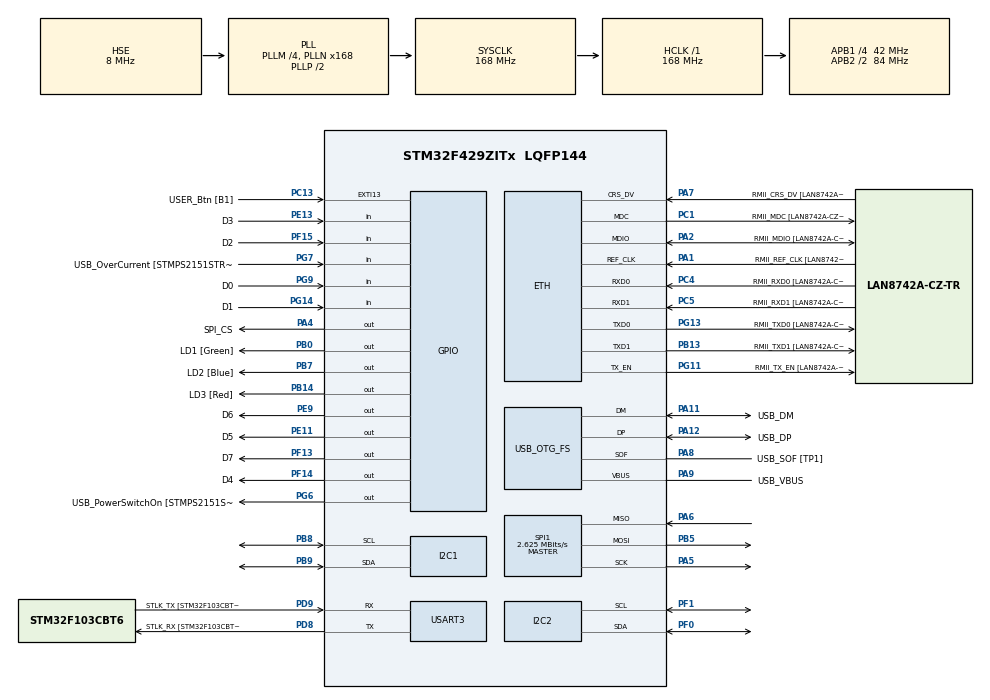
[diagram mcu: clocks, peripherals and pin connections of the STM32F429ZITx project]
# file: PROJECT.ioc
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ETH.MediaInterface=HAL_ETH_RMII_MODE
ETH.PHY_Name=LAN8742A_PHY_ADDRESS
ETH.PHY_Value=0
ETH.PhyAddress=0
I2C1.I2C_Mode=I2C_Fast
Mcu.Family=STM32F4
Mcu.Name=STM32F429ZITx
Mcu.Package=LQFP144
NVIC.PriorityGroup=NVIC_PRIORITYGROUP_4
PA1.GPIO_Label=RMII_REF_CLK [LAN8742A-CZ-TR_REFCLK0]
PA1.Mode=RMII
PA1.Signal=ETH_REF_CLK
PA10.GPIO_Label=USB_ID
PA10.Signal=USB_OTG_FS_ID
PA11.GPIO_Label=USB_DM
PA11.Mode=Device_Only
PA11.Signal=USB_OTG_FS_DM
PA12.GPIO_Label=USB_DP
PA12.Mode=Device_Only
PA12.Signal=USB_OTG_FS_DP
PA13.GPIO_Label=TMS
PA13.Mode=Serial_Wire
PA13.Signal=SYS_JTMS-SWDIO
PA14.GPIO_Label=TCK
PA14.Mode=Serial_Wire
PA14.Signal=SYS_JTCK-SWCLK
PA2.GPIO_Label=RMII_MDIO [LAN8742A-CZ-TR_MDIO]
PA2.Mode=RMII
PA2.Signal=ETH_MDIO
PA4.GPIO_Label=SPI_CS
PA4.Signal=GPIO_Output
PA5.Mode=Full_Duplex_Master
PA5.Signal=SPI1_SCK
PA6.Mode=Full_Duplex_Master
PA6.Signal=SPI1_MISO
PA7.GPIO_Label=RMII_CRS_DV [LAN8742A-CZ-TR_CRS_DV]
PA7.Mode=RMII
PA7.Signal=ETH_CRS_DV
PA8.GPIO_Label=USB_SOF [TP1]
PA8.Mode=Activate_SOF_FS
PA8.Signal=USB_OTG_FS_SOF
PA9.GPIO_Label=USB_VBUS
PA9.Mode=Activate_VBUS
PA9.Signal=USB_OTG_FS_VBUS
PB0.GPIO_Label=LD1 [Green]
PB0.Signal=GPIO_Output
PB13.GPIO_Label=RMII_TXD1 [LAN8742A-CZ-TR_TXD1]
PB13.Mode=RMII
PB13.Signal=ETH_TXD1
PB14.GPIO_Label=LD3 [Red]
PB14.Signal=GPIO_Output
PB5.Mode=Full_Duplex_Master
PB5.Signal=SPI1_MOSI
PB7.GPIO_Label=LD2 [Blue]
PB7.Signal=GPIO_Output
PB8.Mode=I2C
PB8.Signal=I2C1_SCL
PB9.Mode=I2C
PB9.Signal=I2C1_SDA
PC1.GPIO_Label=RMII_MDC [LAN8742A-CZ-TR_MDC]
PC1.Mode=RMII
PC1.Signal=ETH_MDC
PC13.GPIO_Label=USER_Btn [B1]
PC13.Signal=GPXTI13
PC14/OSC32_IN.Mode=LSE-External-Oscillator
PC14/OSC32_IN.Signal=RCC_OSC32_IN
PC15/OSC32_OUT.Mode=LSE-External-Oscillator
PC15/OSC32_OUT.Signal=RCC_OSC32_OUT
PC4.GPIO_Label=RMII_RXD0 [LAN8742A-CZ-TR_RXD0]
PC4.Mode=RMII
PC4.Signal=ETH_RXD0
PC5.GPIO_Label=RMII_RXD1 [LAN8742A-CZ-TR_RXD1]
PC5.Mode=RMII
PC5.Signal=ETH_RXD1
PD8.GPIO_Label=STLK_RX [STM32F103CBT6_PA3]
PD8.Mode=Asynchronous
PD8.Signal=USART3_TX
PD9.GPIO_Label=STLK_TX [STM32F103CBT6_PA2]
PD9.Mode=Asynchronous
PD9.Signal=USART3_RX
PE11.GPIO_Label=D5
PE11.Signal=GPIO_Output
PE13.GPIO_Label=D3
PE13.GPIO_PuPd=GPIO_PULLUP
PE13.Signal=GPIO_Input
PE9.GPIO_Label=D6
PE9.Signal=GPIO_Output
PF0.Mode=I2C
PF0.Signal=I2C2_SDA
PF1.Mode=I2C
PF1.Signal=I2C2_SCL
PF13.GPIO_Label=D7
PF13.Signal=GPIO_Output
PF14.GPIO_Label=D4
PF14.Signal=GPIO_Output
PF15.GPIO_Label=D2
PF15.GPIO_PuPd=GPIO_PULLUP
PF15.Signal=GPIO_Input
PG11.GPIO_Label=RMII_TX_EN [LAN8742A-CZ-TR_TXEN]
PG11.Mode=RMII
PG11.Signal=ETH_TX_EN
PG13.GPIO_Label=RMII_TXD0 [LAN8742A-CZ-TR_TXD0]
PG13.Mode=RMII
PG13.Signal=ETH_TXD0
PG14.GPIO_Label=D1
PG14.GPIO_PuPd=GPIO_PULLUP
PG14.Signal=GPIO_Input
PG6.GPIO_Label=USB_PowerSwitchOn [STMPS2151STR_EN]
PG6.Signal=GPIO_Output
PG7.GPIO_Label=USB_OverCurrent [STMPS2151STR_FAULT]
PG7.Signal=GPIO_Input
PG9.GPIO_Label=D0
PG9.GPIO_PuPd=GPIO_PULLUP
PG9.Signal=GPIO_Input
PH0/OSC_IN.GPIO_Label=MCO [STM32F103CBT6_PA8]
PH0/OSC_IN.Mode=HSE-External-Oscillator
PH0/OSC_IN.Signal=RCC_OSC_IN
PH1/OSC_OUT.Mode=HSE-External-Oscillator
PH1/OSC_OUT.Signal=RCC_OSC_OUT
ProjectManager.HeapSize=0x200
ProjectManager.StackSize=0x400
ProjectManager.TargetToolchain=STM32CubeIDE
RCC.48MHZClocksFreq_Value=48000000
RCC.AHBFreq_Value=168000000
RCC.APB1CLKDivider=RCC_HCLK_DIV4
RCC.APB1Freq_Value=42000000
RCC.APB1TimFreq_Value=84000000
RCC.APB2CLKDivider=RCC_HCLK_DIV2
RCC.APB2Freq_Value=84000000
RCC.APB2TimCLKDivider=2
RCC.APB2TimFreq_Value=168000000
RCC.CortexFreq_Value=168000000
RCC.HCLKFreq_Value=168000000
RCC.HSE_VALUE=8000000
RCC.HSI_VALUE=16000000
RCC.PLLM=4
RCC.PLLMUL=RCC_PLL_MUL9
RCC.PLLN=168
RCC.PLLQ=7
RCC.PRESCALERUSB=RCC_USBCLKSOURCE_PLL_DIV1_5
RCC.SYSCLKFreq_VALUE=168000000
RCC.SYSCLKSource=RCC_SYSCLKSOURCE_PLLCLK
RCC.SYSCLKSourceVirtual=RCC_SYSCLKSOURCE_PLLCLK
RCC.USBFreq_Value=48000000
RCC.VCOOutputFreq_Value=336000000
RTC.Date=14
RTC.Format=RTC_FORMAT_BIN
RTC.Hours=13
RTC.Minutes=50
RTC.Month=RTC_MONTH_FEBRUARY
RTC.WeekDay=RTC_WEEKDAY_TUESDAY
RTC.Year=23
SPI1.BaudRatePrescaler=SPI_BAUDRATEPRESCALER_32
SPI1.CLKPhase=SPI_PHASE_2EDGE
SPI1.CLKPolarity=SPI_POLARITY_HIGH
SPI1.CalculateBaudRate=2.625 MBits/s
SPI1.Direction=SPI_DIRECTION_2LINES
SPI1.Mode=SPI_MODE_MASTER
SPI1.VirtualType=VM_MASTER
TIM2.Prescaler=999
USART3.VirtualMode=VM_ASYNC
USB_OTG_FS.VirtualMode=Device_Only
VP_RTC_VS_RTC_Activate.Mode=RTC_Enabled
VP_RTC_VS_RTC_Calendar.Mode=RTC_Calendar
VP_TIM2_VS_ClockSourceINT.Mode=Internal
board=NUCLEO-F429ZI

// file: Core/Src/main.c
/* USER CODE BEGIN Header */
/**
  ******************************************************************************
  * @file           : main.c
  * @brief          : Main program body
  ******************************************************************************
  * @attention
  *
  * Copyright (c) 2024 STMicroelectronics.
  * All rights reserved.
  *
  * This software is licensed under terms that can be found in the LICENSE file
  * in the root directory of this software component.
  * If no LICENSE file comes with this software, it is provided AS-IS.
  *
  ******************************************************************************
  */
/* USER CODE END Header */
#include "API_ds3231.h"
#include "API_ssd1306.h"
//#include "API_numpad_4x4.h"
#include "main.h"
#include "string.h"

/* USER CODE BEGIN Includes */
#include <stdio.h>
#include <stdbool.h>
#include <string.h>
#include <stdlib.h>
#include "fonts.h"
#include "stdint.h"

/* USER CODE END Includes */

/* USER CODE BEGIN PTD */
char time[9];
char firstTime[9];
char date[9];

uint8_t key;
uint32_t counter=0;

uint8_t tx_buffer[30];

volatile uint32_t start_time1 = 0;
volatile uint32_t end_time1 = 0;
uint8_t pin_state= 0;

uint32_t firstTimeInSeconds;
uint32_t currentTimeInSeconds;
/* USER CODE END PTD */

ETH_TxPacketConfig TxConfig;
ETH_DMADescTypeDef  DMARxDscrTab[ETH_RX_DESC_CNT]; /* Ethernet Rx DMA Descriptors */
ETH_DMADescTypeDef  DMATxDscrTab[ETH_TX_DESC_CNT]; /* Ethernet Tx DMA Descriptors */

ETH_HandleTypeDef heth;

I2C_HandleTypeDef hi2c1;
I2C_HandleTypeDef hi2c2;

RTC_HandleTypeDef hrtc;

SPI_HandleTypeDef hspi1;

TIM_HandleTypeDef htim2;

UART_HandleTypeDef huart3;

PCD_HandleTypeDef hpcd_USB_OTG_FS;

/* USER CODE BEGIN PV */
// function to set time

float TEMP;
char buffer[15];
int pushbutton;

volatile uint8_t timer_flag = 0;

RTC_HandleTypeDef hrtc;

/* USER CODE END PV */

void SystemClock_Config(void);
static void MX_GPIO_Init(void);
static void MX_ETH_Init(void);
static void MX_USART3_UART_Init(void);
static void MX_USB_OTG_FS_PCD_Init(void);
static void MX_I2C1_Init(void);
static void MX_I2C2_Init(void);
static void MX_SPI1_Init(void);
static void MX_TIM2_Init(void);
static void MX_RTC_Init(void);
/* USER CODE BEGIN PFP */

RTC_TimeTypeDef sTime;

RTC_DateTypeDef dateToUpdate;

RTC_TimeTypeDef changeTime;
RTC_DateTypeDef changeDate;

void mpu9250_read_reg(uint8_t reg, uint8_t *data, uint8_t len);
void mpu9250_write_reg(uint8_t reg, uint8_t data);

char readKeyMPrincipal(void);
void presentarHora(void);
/* USER CODE END PFP */

int main(void)
{

  /* MCU Configuration--------------------------------------------------------*/

  /* Reset of all peripherals, Initializes the Flash interface and the Systick. */
  HAL_Init();

  /* Configure the system clock */
  SystemClock_Config();

  /* Initialize all configured peripherals */
  MX_GPIO_Init();
  MX_ETH_Init();
  MX_USART3_UART_Init();
  MX_USB_OTG_FS_PCD_Init();
  MX_I2C1_Init();
  MX_I2C2_Init();
  MX_SPI1_Init();
  MX_TIM2_Init();
  MX_RTC_Init();
  /* USER CODE BEGIN 2 */
  SSD1306_Init();
  //int16_t accel_data;
  //uint8_t imu_data[14];
  //mpu9250_write_reg(28, 0x08);
  /* USER CODE END 2 */

  /* Infinite loop */
  /* USER CODE BEGIN WHILE */

  SSD1306_GotoXY (0,0);
  SSD1306_Puts ("CARGANDO..", &Font_11x18, 1);
  SSD1306_UpdateScreen();
  HAL_Delay(3000);
  SSD1306_Clear();

  presentarHora();
  while (1)
  {
	  presentarHora();
	  key = readKeyMPrincipal();
	  if(key == 'A' ){
		  SSD1306_Clear();
		  menuOpciones();
	  }
    /* USER CODE END WHILE */

  }
}

void SystemClock_Config(void)
{
  RCC_OscInitTypeDef RCC_OscInitStruct = {0};
  RCC_ClkInitTypeDef RCC_ClkInitStruct = {0};

  /** Configure the main internal regulator output voltage
  */
  __HAL_RCC_PWR_CLK_ENABLE();
  __HAL_PWR_VOLTAGESCALING_CONFIG(PWR_REGULATOR_VOLTAGE_SCALE1);

  /** Initializes the RCC Oscillators according to the specified parameters
  * in the RCC_OscInitTypeDef structure.
  */
  RCC_OscInitStruct.OscillatorType = RCC_OSCILLATORTYPE_LSI|RCC_OSCILLATORTYPE_HSE;
  RCC_OscInitStruct.HSEState = RCC_HSE_ON;
  RCC_OscInitStruct.LSIState = RCC_LSI_ON;
  RCC_OscInitStruct.PLL.PLLState = RCC_PLL_ON;
  RCC_OscInitStruct.PLL.PLLSource = RCC_PLLSOURCE_HSE;
  RCC_OscInitStruct.PLL.PLLM = 4;
  RCC_OscInitStruct.PLL.PLLN = 168;
  RCC_OscInitStruct.PLL.PLLP = RCC_PLLP_DIV2;
  RCC_OscInitStruct.PLL.PLLQ = 7;
  if (HAL_RCC_OscConfig(&RCC_OscInitStruct) != HAL_OK)
  {
    Error_Handler();
  }

  /** Initializes the CPU, AHB and APB buses clocks
  */
  RCC_ClkInitStruct.ClockType = RCC_CLOCKTYPE_HCLK|RCC_CLOCKTYPE_SYSCLK
                              |RCC_CLOCKTYPE_PCLK1|RCC_CLOCKTYPE_PCLK2;
  RCC_ClkInitStruct.SYSCLKSource = RCC_SYSCLKSOURCE_PLLCLK;
  RCC_ClkInitStruct.AHBCLKDivider = RCC_SYSCLK_DIV1;
  RCC_ClkInitStruct.APB1CLKDivider = RCC_HCLK_DIV4;
  RCC_ClkInitStruct.APB2CLKDivider = RCC_HCLK_DIV2;

  if (HAL_RCC_ClockConfig(&RCC_ClkInitStruct, FLASH_LATENCY_5) != HAL_OK)
  {
    Error_Handler();
  }
}

static void MX_ETH_Init(void)
{

   static uint8_t MACAddr[6];

  heth.Instance = ETH;
  MACAddr[0] = 0x00;
  MACAddr[1] = 0x80;
  MACAddr[2] = 0xE1;
  MACAddr[3] = 0x00;
  MACAddr[4] = 0x00;
  MACAddr[5] = 0x00;
  heth.Init.MACAddr = &MACAddr[0];
  heth.Init.MediaInterface = HAL_ETH_RMII_MODE;
  heth.Init.TxDesc = DMATxDscrTab;
  heth.Init.RxDesc = DMARxDscrTab;
  heth.Init.RxBuffLen = 1524;

  if (HAL_ETH_Init(&heth) != HAL_OK)
  {
    Error_Handler();
  }

  memset(&TxConfig, 0 , sizeof(ETH_TxPacketConfig));
  TxConfig.Attributes = ETH_TX_PACKETS_FEATURES_CSUM | ETH_TX_PACKETS_FEATURES_CRCPAD;
  TxConfig.ChecksumCtrl = ETH_CHECKSUM_IPHDR_PAYLOAD_INSERT_PHDR_CALC;
  TxConfig.CRCPadCtrl = ETH_CRC_PAD_INSERT;

}

static void MX_I2C1_Init(void)
{

  hi2c1.Instance = I2C1;
  hi2c1.Init.ClockSpeed = 400000;
  hi2c1.Init.DutyCycle = I2C_DUTYCYCLE_2;
  hi2c1.Init.OwnAddress1 = 0;
  hi2c1.Init.AddressingMode = I2C_ADDRESSINGMODE_7BIT;
  hi2c1.Init.DualAddressMode = I2C_DUALADDRESS_DISABLE;
  hi2c1.Init.OwnAddress2 = 0;
  hi2c1.Init.GeneralCallMode = I2C_GENERALCALL_DISABLE;
  hi2c1.Init.NoStretchMode = I2C_NOSTRETCH_DISABLE;
  if (HAL_I2C_Init(&hi2c1) != HAL_OK)
  {
    Error_Handler();
  }

  /** Configure Analogue filter
  */
  if (HAL_I2CEx_ConfigAnalogFilter(&hi2c1, I2C_ANALOGFILTER_ENABLE) != HAL_OK)
  {
    Error_Handler();
  }

  /** Configure Digital filter
  */
  if (HAL_I2CEx_ConfigDigitalFilter(&hi2c1, 0) != HAL_OK)
  {
    Error_Handler();
  }

}

static void MX_I2C2_Init(void)
{

  hi2c2.Instance = I2C2;
  hi2c2.Init.ClockSpeed = 100000;
  hi2c2.Init.DutyCycle = I2C_DUTYCYCLE_2;
  hi2c2.Init.OwnAddress1 = 0;
  hi2c2.Init.AddressingMode = I2C_ADDRESSINGMODE_7BIT;
  hi2c2.Init.DualAddressMode = I2C_DUALADDRESS_DISABLE;
  hi2c2.Init.OwnAddress2 = 0;
  hi2c2.Init.GeneralCallMode = I2C_GENERALCALL_DISABLE;
  hi2c2.Init.NoStretchMode = I2C_NOSTRETCH_DISABLE;
  if (HAL_I2C_Init(&hi2c2) != HAL_OK)
  {
    Error_Handler();
  }

  /** Configure Analogue filter
  */
  if (HAL_I2CEx_ConfigAnalogFilter(&hi2c2, I2C_ANALOGFILTER_ENABLE) != HAL_OK)
  {
    Error_Handler();
  }

  /** Configure Digital filter
  */
  if (HAL_I2CEx_ConfigDigitalFilter(&hi2c2, 0) != HAL_OK)
  {
    Error_Handler();
  }

}

static void MX_RTC_Init(void)
{

  RTC_TimeTypeDef sTime = {0};
  RTC_DateTypeDef sDate = {0};

  /** Initialize RTC Only
  */
  hrtc.Instance = RTC;
  hrtc.Init.HourFormat = RTC_HOURFORMAT_24;
  hrtc.Init.AsynchPrediv = 127;
  hrtc.Init.SynchPrediv = 255;
  hrtc.Init.OutPut = RTC_OUTPUT_DISABLE;
  hrtc.Init.OutPutPolarity = RTC_OUTPUT_POLARITY_HIGH;
  hrtc.Init.OutPutType = RTC_OUTPUT_TYPE_OPENDRAIN;
  if (HAL_RTC_Init(&hrtc) != HAL_OK)
  {
    Error_Handler();
  }

  /** Initialize RTC and set the Time and Date
  */
  sTime.Hours = 13;
  sTime.Minutes = 50;
  sTime.Seconds = 0;
  sTime.DayLightSaving = RTC_DAYLIGHTSAVING_NONE;
  sTime.StoreOperation = RTC_STOREOPERATION_RESET;
  if (HAL_RTC_SetTime(&hrtc, &sTime, RTC_FORMAT_BIN) != HAL_OK)
  {
    Error_Handler();
  }
  sDate.WeekDay = RTC_WEEKDAY_TUESDAY;
  sDate.Month = RTC_MONTH_FEBRUARY;
  sDate.Date = 14;
  sDate.Year = 23;

  if (HAL_RTC_SetDate(&hrtc, &sDate, RTC_FORMAT_BIN) != HAL_OK)
  {
    Error_Handler();
  }

}

static void MX_SPI1_Init(void)
{

  /* SPI1 parameter configuration*/
  hspi1.Instance = SPI1;
  hspi1.Init.Mode = SPI_MODE_MASTER;
  hspi1.Init.Direction = SPI_DIRECTION_2LINES;
  hspi1.Init.DataSize = SPI_DATASIZE_8BIT;
  hspi1.Init.CLKPolarity = SPI_POLARITY_HIGH;
  hspi1.Init.CLKPhase = SPI_PHASE_2EDGE;
  hspi1.Init.NSS = SPI_NSS_SOFT;
  hspi1.Init.BaudRatePrescaler = SPI_BAUDRATEPRESCALER_32;
  hspi1.Init.FirstBit = SPI_FIRSTBIT_MSB;
  hspi1.Init.TIMode = SPI_TIMODE_DISABLE;
  hspi1.Init.CRCCalculation = SPI_CRCCALCULATION_DISABLE;
  hspi1.Init.CRCPolynomial = 10;
  if (HAL_SPI_Init(&hspi1) != HAL_OK)
  {
    Error_Handler();
  }

}

static void MX_TIM2_Init(void)
{

  TIM_ClockConfigTypeDef sClockSourceConfig = {0};
  TIM_MasterConfigTypeDef sMasterConfig = {0};

  htim2.Instance = TIM2;
  htim2.Init.Prescaler = 999;
  htim2.Init.CounterMode = TIM_COUNTERMODE_UP;
  htim2.Init.Period = 4294967295;
  htim2.Init.ClockDivision = TIM_CLOCKDIVISION_DIV1;
  htim2.Init.AutoReloadPreload = TIM_AUTORELOAD_PRELOAD_DISABLE;
  if (HAL_TIM_Base_Init(&htim2) != HAL_OK)
  {
    Error_Handler();
  }
  sClockSourceConfig.ClockSource = TIM_CLOCKSOURCE_INTERNAL;
  if (HAL_TIM_ConfigClockSource(&htim2, &sClockSourceConfig) != HAL_OK)
  {
    Error_Handler();
  }
  sMasterConfig.MasterOutputTrigger = TIM_TRGO_RESET;
  sMasterConfig.MasterSlaveMode = TIM_MASTERSLAVEMODE_DISABLE;
  if (HAL_TIMEx_MasterConfigSynchronization(&htim2, &sMasterConfig) != HAL_OK)
  {
    Error_Handler();
  }

}

static void MX_USART3_UART_Init(void)
{

  huart3.Instance = USART3;
  huart3.Init.BaudRate = 115200;
  huart3.Init.WordLength = UART_WORDLENGTH_8B;
  huart3.Init.StopBits = UART_STOPBITS_1;
  huart3.Init.Parity = UART_PARITY_NONE;
  huart3.Init.Mode = UART_MODE_TX_RX;
  huart3.Init.HwFlowCtl = UART_HWCONTROL_NONE;
  huart3.Init.OverSampling = UART_OVERSAMPLING_16;
  if (HAL_UART_Init(&huart3) != HAL_OK)
  {
    Error_Handler();
  }

}

static void MX_USB_OTG_FS_PCD_Init(void)
{

  hpcd_USB_OTG_FS.Instance = USB_OTG_FS;
  hpcd_USB_OTG_FS.Init.dev_endpoints = 4;
  hpcd_USB_OTG_FS.Init.speed = PCD_SPEED_FULL;
  hpcd_USB_OTG_FS.Init.dma_enable = DISABLE;
  hpcd_USB_OTG_FS.Init.phy_itface = PCD_PHY_EMBEDDED;
  hpcd_USB_OTG_FS.Init.Sof_enable = ENABLE;
  hpcd_USB_OTG_FS.Init.low_power_enable = DISABLE;
  hpcd_USB_OTG_FS.Init.lpm_enable = DISABLE;
  hpcd_USB_OTG_FS.Init.vbus_sensing_enable = ENABLE;
  hpcd_USB_OTG_FS.Init.use_dedicated_ep1 = DISABLE;
  if (HAL_PCD_Init(&hpcd_USB_OTG_FS) != HAL_OK)
  {
    Error_Handler();
  }

}

static void MX_GPIO_Init(void)
{
  GPIO_InitTypeDef GPIO_InitStruct = {0};

  /* GPIO Ports Clock Enable */
  __HAL_RCC_GPIOC_CLK_ENABLE();
  __HAL_RCC_GPIOF_CLK_ENABLE();
  __HAL_RCC_GPIOH_CLK_ENABLE();
  __HAL_RCC_GPIOA_CLK_ENABLE();
  __HAL_RCC_GPIOB_CLK_ENABLE();
  __HAL_RCC_GPIOE_CLK_ENABLE();
  __HAL_RCC_GPIOD_CLK_ENABLE();
  __HAL_RCC_GPIOG_CLK_ENABLE();

  /*Configure GPIO pin Output Level */
  HAL_GPIO_WritePin(SPI_CS_GPIO_Port, SPI_CS_Pin, GPIO_PIN_RESET);

  /*Configure GPIO pin Output Level */
  HAL_GPIO_WritePin(GPIOB, LD1_Pin|LD3_Pin|LD2_Pin, GPIO_PIN_RESET);

  /*Configure GPIO pin Output Level */
  HAL_GPIO_WritePin(GPIOF, D7_Pin|D4_Pin, GPIO_PIN_RESET);

  /*Configure GPIO pin Output Level */
  HAL_GPIO_WritePin(GPIOE, D6_Pin|D5_Pin, GPIO_PIN_RESET);

  /*Configure GPIO pin Output Level */
  HAL_GPIO_WritePin(USB_PowerSwitchOn_GPIO_Port, USB_PowerSwitchOn_Pin, GPIO_PIN_RESET);

  /*Configure GPIO pin : USER_Btn_Pin */
  GPIO_InitStruct.Pin = USER_Btn_Pin;
  GPIO_InitStruct.Mode = GPIO_MODE_IT_RISING;
  GPIO_InitStruct.Pull = GPIO_NOPULL;
  HAL_GPIO_Init(USER_Btn_GPIO_Port, &GPIO_InitStruct);

  /*Configure GPIO pin : SPI_CS_Pin */
  GPIO_InitStruct.Pin = SPI_CS_Pin;
  GPIO_InitStruct.Mode = GPIO_MODE_OUTPUT_PP;
  GPIO_InitStruct.Pull = GPIO_NOPULL;
  GPIO_InitStruct.Speed = GPIO_SPEED_FREQ_LOW;
  HAL_GPIO_Init(SPI_CS_GPIO_Port, &GPIO_InitStruct);

  /*Configure GPIO pins : LD1_Pin LD3_Pin LD2_Pin */
  GPIO_InitStruct.Pin = LD1_Pin|LD3_Pin|LD2_Pin;
  GPIO_InitStruct.Mode = GPIO_MODE_OUTPUT_PP;
  GPIO_InitStruct.Pull = GPIO_NOPULL;
  GPIO_InitStruct.Speed = GPIO_SPEED_FREQ_LOW;
  HAL_GPIO_Init(GPIOB, &GPIO_InitStruct);

  /*Configure GPIO pins : D7_Pin D4_Pin */
  GPIO_InitStruct.Pin = D7_Pin|D4_Pin;
  GPIO_InitStruct.Mode = GPIO_MODE_OUTPUT_PP;
  GPIO_InitStruct.Pull = GPIO_NOPULL;
  GPIO_InitStruct.Speed = GPIO_SPEED_FREQ_LOW;
  HAL_GPIO_Init(GPIOF, &GPIO_InitStruct);

  /*Configure GPIO pin : D2_Pin */
  GPIO_InitStruct.Pin = D2_Pin;
  GPIO_InitStruct.Mode = GPIO_MODE_INPUT;
  GPIO_InitStruct.Pull = GPIO_PULLUP;
  HAL_GPIO_Init(D2_GPIO_Port, &GPIO_InitStruct);

  /*Configure GPIO pins : D6_Pin D5_Pin */
  GPIO_InitStruct.Pin = D6_Pin|D5_Pin;
  GPIO_InitStruct.Mode = GPIO_MODE_OUTPUT_PP;
  GPIO_InitStruct.Pull = GPIO_NOPULL;
  GPIO_InitStruct.Speed = GPIO_SPEED_FREQ_LOW;
  HAL_GPIO_Init(GPIOE, &GPIO_InitStruct);

  /*Configure GPIO pin : D3_Pin */
  GPIO_InitStruct.Pin = D3_Pin;
  GPIO_InitStruct.Mode = GPIO_MODE_INPUT;
  GPIO_InitStruct.Pull = GPIO_PULLUP;
  HAL_GPIO_Init(D3_GPIO_Port, &GPIO_InitStruct);

  /*Configure GPIO pin : USB_PowerSwitchOn_Pin */
  GPIO_InitStruct.Pin = USB_PowerSwitchOn_Pin;
  GPIO_InitStruct.Mode = GPIO_MODE_OUTPUT_PP;
  GPIO_InitStruct.Pull = GPIO_NOPULL;
  GPIO_InitStruct.Speed = GPIO_SPEED_FREQ_LOW;
  HAL_GPIO_Init(USB_PowerSwitchOn_GPIO_Port, &GPIO_InitStruct);

  /*Configure GPIO pin : USB_OverCurrent_Pin */
  GPIO_InitStruct.Pin = USB_OverCurrent_Pin;
  GPIO_InitStruct.Mode = GPIO_MODE_INPUT;
  GPIO_InitStruct.Pull = GPIO_NOPULL;
  HAL_GPIO_Init(USB_OverCurrent_GPIO_Port, &GPIO_InitStruct);

  /*Configure GPIO pins : D0_Pin D1_Pin */
  GPIO_InitStruct.Pin = D0_Pin|D1_Pin;
  GPIO_InitStruct.Mode = GPIO_MODE_INPUT;
  GPIO_InitStruct.Pull = GPIO_PULLUP;
  HAL_GPIO_Init(GPIOG, &GPIO_InitStruct);

}

/* USER CODE BEGIN 4 */

void mpu9250_write_reg(uint8_t reg, uint8_t data)
{
	HAL_GPIO_WritePin(SPI_CS_GPIO_Port, SPI_CS_Pin, GPIO_PIN_RESET);
	HAL_SPI_Transmit(&hspi1, &reg, 1, 100);
	HAL_SPI_Transmit(&hspi1, &data, 1, 100);
	HAL_GPIO_WritePin(SPI_CS_GPIO_Port, SPI_CS_Pin, GPIO_PIN_SET);
}
void mpu9250_read_reg(uint8_t reg, uint8_t *data, uint8_t len)
{
	uint8_t temp_data = 0x80|reg;
	HAL_GPIO_WritePin(SPI_CS_GPIO_Port, SPI_CS_Pin, GPIO_PIN_RESET);
	HAL_SPI_Transmit(&hspi1, &temp_data , 1, 100);
	HAL_SPI_Receive(&hspi1, data, len, 100);
	HAL_GPIO_WritePin(SPI_CS_GPIO_Port, SPI_CS_Pin, GPIO_PIN_SET);
}

void HAL_TIM_PeriodElapsedCallback(TIM_HandleTypeDef *htim)
{
	if (htim == &htim2)
	{
		timer_flag = 1;
	}
}

int _write(int file, char *ptr, int len)
{
	int DataIdx;

	for (DataIdx = 0; DataIdx < len; DataIdx++)
	{
		ITM_SendChar(*ptr++);
	}
	return len;
}

void presentarHora(void){
	SSD1306_GotoXY (0,0);
	SSD1306_Puts ("Hora, Fecha", &Font_11x18, 1);
	HAL_RTC_GetTime(&hrtc, &sTime,  RTC_FORMAT_BIN);
    sprintf(firstTime, " %02d-%02d-%02d  ", sTime.Hours, sTime.Minutes, sTime.Seconds);
	SSD1306_GotoXY (0,25);
	SSD1306_Puts (firstTime, &Font_11x18, 1);

	HAL_RTC_GetDate(&hrtc, &dateToUpdate, RTC_FORMAT_BIN);
	sprintf(date, " %02d-%02d-%02d  ", dateToUpdate.Date, dateToUpdate.Month, dateToUpdate.Year);
	SSD1306_GotoXY (0,45);
	SSD1306_Puts (date, &Font_11x18, 1);
	SSD1306_UpdateScreen();
}

char readKeyMPrincipal(void){

	HAL_GPIO_WritePin(D7_GPIO_Port, D7_Pin, GPIO_PIN_RESET);
	HAL_GPIO_WritePin(D6_GPIO_Port, D6_Pin, GPIO_PIN_SET);
	HAL_GPIO_WritePin(D5_GPIO_Port, D5_Pin, GPIO_PIN_SET);
	HAL_GPIO_WritePin(D4_GPIO_Port, D4_Pin, GPIO_PIN_SET);

	if(!HAL_GPIO_ReadPin(D0_GPIO_Port, D0_Pin)){

		while(!HAL_GPIO_ReadPin(D0_GPIO_Port, D0_Pin));
		return 'A';
	}
	HAL_GPIO_WritePin(D7_GPIO_Port, D7_Pin, GPIO_PIN_SET);
	HAL_GPIO_WritePin(D6_GPIO_Port, D6_Pin, GPIO_PIN_SET);
	HAL_GPIO_WritePin(D5_GPIO_Port, D5_Pin, GPIO_PIN_SET);
	HAL_GPIO_WritePin(D4_GPIO_Port, D4_Pin, GPIO_PIN_SET);
	return ' ';
}

char keyMenuOpciones(){

		HAL_GPIO_WritePin(D7_GPIO_Port, D7_Pin, GPIO_PIN_RESET);
		HAL_GPIO_WritePin(D6_GPIO_Port, D6_Pin, GPIO_PIN_SET);
		HAL_GPIO_WritePin(D5_GPIO_Port, D5_Pin, GPIO_PIN_SET);
		HAL_GPIO_WritePin(D4_GPIO_Port, D4_Pin, GPIO_PIN_SET);

		if(!HAL_GPIO_ReadPin(D0_GPIO_Port, D0_Pin)){

			while(!HAL_GPIO_ReadPin(D0_GPIO_Port, D0_Pin));
			return 'A';
		}

		HAL_GPIO_WritePin(D7_GPIO_Port, D7_Pin, GPIO_PIN_SET);
		HAL_GPIO_WritePin(D6_GPIO_Port, D6_Pin, GPIO_PIN_RESET);
		HAL_GPIO_WritePin(D5_GPIO_Port, D5_Pin, GPIO_PIN_SET);
		HAL_GPIO_WritePin(D4_GPIO_Port, D4_Pin, GPIO_PIN_SET);

		if(!HAL_GPIO_ReadPin(D0_GPIO_Port, D0_Pin)){

			while(!HAL_GPIO_ReadPin(D0_GPIO_Port, D0_Pin));
			return 'B';
		}

		HAL_GPIO_WritePin(D7_GPIO_Port, D7_Pin, GPIO_PIN_SET);
		HAL_GPIO_WritePin(D6_GPIO_Port, D6_Pin, GPIO_PIN_SET);
		HAL_GPIO_WritePin(D5_GPIO_Port, D5_Pin, GPIO_PIN_SET);
		HAL_GPIO_WritePin(D4_GPIO_Port, D4_Pin, GPIO_PIN_RESET);

		if(!HAL_GPIO_ReadPin(D0_GPIO_Port, D0_Pin)){

			while(!HAL_GPIO_ReadPin(D0_GPIO_Port, D0_Pin));
			return 'D';
		}

		HAL_GPIO_WritePin(D7_GPIO_Port, D7_Pin, GPIO_PIN_SET);
		HAL_GPIO_WritePin(D6_GPIO_Port, D6_Pin, GPIO_PIN_SET);
		HAL_GPIO_WritePin(D5_GPIO_Port, D5_Pin, GPIO_PIN_SET);
		HAL_GPIO_WritePin(D4_GPIO_Port, D4_Pin, GPIO_PIN_RESET);
}

char detectNumPad(void){

	HAL_GPIO_WritePin(D7_GPIO_Port, D7_Pin, GPIO_PIN_RESET);
	HAL_GPIO_WritePin(D6_GPIO_Port, D6_Pin, GPIO_PIN_SET);
	HAL_GPIO_WritePin(D5_GPIO_Port, D5_Pin, GPIO_PIN_SET);
	HAL_GPIO_WritePin(D4_GPIO_Port, D4_Pin, GPIO_PIN_SET);

	if(!HAL_GPIO_ReadPin(D3_GPIO_Port, D3_Pin) ){

		while(!HAL_GPIO_ReadPin(D3_GPIO_Port, D3_Pin));
		return '1';
	}
	if(!HAL_GPIO_ReadPin(D2_GPIO_Port, D2_Pin)){

		while(!HAL_GPIO_ReadPin(D2_GPIO_Port, D2_Pin));
		return '2';
	}
	if(!HAL_GPIO_ReadPin(D1_GPIO_Port, D1_Pin)){

		while(!HAL_GPIO_ReadPin(D1_GPIO_Port, D1_Pin));
		return '3';
	}
	if(!HAL_GPIO_ReadPin(D0_GPIO_Port, D0_Pin)){

		while(!HAL_GPIO_ReadPin(D0_GPIO_Port, D0_Pin));
		return 'A';
	}

	HAL_GPIO_WritePin(D7_GPIO_Port, D7_Pin, GPIO_PIN_SET);
	HAL_GPIO_WritePin(D6_GPIO_Port, D6_Pin, GPIO_PIN_RESET);
	HAL_GPIO_WritePin(D5_GPIO_Port, D5_Pin, GPIO_PIN_SET);
	HAL_GPIO_WritePin(D4_GPIO_Port, D4_Pin, GPIO_PIN_SET);

	if(!HAL_GPIO_ReadPin(D3_GPIO_Port, D3_Pin)){

		while(!HAL_GPIO_ReadPin(D3_GPIO_Port, D3_Pin));
		return '4';
	}
	if(!HAL_GPIO_ReadPin(D2_GPIO_Port, D2_Pin)){

		while(!HAL_GPIO_ReadPin(D2_GPIO_Port, D2_Pin));
		return '5';
	}
	if(!HAL_GPIO_ReadPin(D1_GPIO_Port, D1_Pin)){

		while(!HAL_GPIO_ReadPin(D1_GPIO_Port, D1_Pin));
		return '6';
	}
	if(!HAL_GPIO_ReadPin(D0_GPIO_Port, D0_Pin)){

		while(!HAL_GPIO_ReadPin(D0_GPIO_Port, D0_Pin));
		return 'B';
	}

	HAL_GPIO_WritePin(D7_GPIO_Port, D7_Pin, GPIO_PIN_SET);
	HAL_GPIO_WritePin(D6_GPIO_Port, D6_Pin, GPIO_PIN_SET);
	HAL_GPIO_WritePin(D5_GPIO_Port, D5_Pin, GPIO_PIN_RESET);
	HAL_GPIO_WritePin(D4_GPIO_Port, D4_Pin, GPIO_PIN_SET);

	if(!HAL_GPIO_ReadPin(D3_GPIO_Port, D3_Pin)){

		while(!HAL_GPIO_ReadPin(D3_GPIO_Port, D3_Pin));
		return '7';
	}
	if(!HAL_GPIO_ReadPin(D2_GPIO_Port, D2_Pin)){

		while(!HAL_GPIO_ReadPin(D2_GPIO_Port, D2_Pin));
		return '8';
	}
	if(!HAL_GPIO_ReadPin(D1_GPIO_Port, D1_Pin)){

		while(!HAL_GPIO_ReadPin(D1_GPIO_Port, D1_Pin));
		return '9';
	}
	if(!HAL_GPIO_ReadPin(D0_GPIO_Port, D0_Pin)){

		while(!HAL_GPIO_ReadPin(D0_GPIO_Port, D0_Pin));
		return 'C';
	}

	HAL_GPIO_WritePin(D7_GPIO_Port, D7_Pin, GPIO_PIN_SET);
	HAL_GPIO_WritePin(D6_GPIO_Port, D6_Pin, GPIO_PIN_SET);
	HAL_GPIO_WritePin(D5_GPIO_Port, D5_Pin, GPIO_PIN_SET);
	HAL_GPIO_WritePin(D4_GPIO_Port, D4_Pin, GPIO_PIN_RESET);

	if(!HAL_GPIO_ReadPin(D3_GPIO_Port, D3_Pin)){

		while(!HAL_GPIO_ReadPin(D3_GPIO_Port, D3_Pin));
		return '*';
	}
	if(!HAL_GPIO_ReadPin(D2_GPIO_Port, D2_Pin)){

		while(!HAL_GPIO_ReadPin(D2_GPIO_Port, D2_Pin));
		return '0';
	}
	if(!HAL_GPIO_ReadPin(D1_GPIO_Port, D1_Pin)){

		while(!HAL_GPIO_ReadPin(D1_GPIO_Port, D1_Pin));
		return '#';
	}
	if(!HAL_GPIO_ReadPin(D0_GPIO_Port, D0_Pin)){

		while(!HAL_GPIO_ReadPin(D0_GPIO_Port, D0_Pin));
		return 'D';
	}

	HAL_GPIO_WritePin(D7_GPIO_Port, D7_Pin, GPIO_PIN_SET);
	HAL_GPIO_WritePin(D6_GPIO_Port, D6_Pin, GPIO_PIN_SET);
	HAL_GPIO_WritePin(D5_GPIO_Port, D5_Pin, GPIO_PIN_SET);
	HAL_GPIO_WritePin(D4_GPIO_Port, D4_Pin, GPIO_PIN_SET);

}

void presentarCalculadora(void){
	SSD1306_GotoXY (0,0);
	SSD1306_Puts ("Hora, Fecha", &Font_11x18, 1);
	HAL_RTC_GetTime(&hrtc, &sTime,  RTC_FORMAT_BIN);
    sprintf(firstTime, " %02d-%02d-%02d  ", sTime.Hours, sTime.Minutes, sTime.Seconds);
	SSD1306_GotoXY (0,25);
	SSD1306_Puts (firstTime, &Font_11x18, 1);

	HAL_RTC_GetDate(&hrtc, &dateToUpdate, RTC_FORMAT_BIN);
	sprintf(date, " %02d-%02d-%02d  ", dateToUpdate.Date, dateToUpdate.Month, dateToUpdate.Year);
	SSD1306_GotoXY (0,45);
	SSD1306_Puts (date, &Font_11x18, 1);
	SSD1306_UpdateScreen();
}

void calculadora(){
	int salida = 1;
	int opcion = 1;
	char contenido[11] = "0";
	char resultado[11] = "0";
	char value[11];
	char salidaUart[40] = "";
	char key;
	int inicial = 0;
	int tamano = 0;
	int valor1 = 0;
	int valor2 = 0;
	int operacionAritmetica = 0;
	//SSD1306_GotoXY (0,25);
	//SSD1306_GotoXY (0,45);
	SSD1306_Clear();
	while(salida){
		SSD1306_GotoXY (0,0);
		SSD1306_Puts ("Calculadora", &Font_11x18, 1);
		SSD1306_GotoXY (0,45);
		sprintf(value, "%11s", contenido);
		SSD1306_Puts ( value, &Font_11x18, 1);
		SSD1306_UpdateScreen();

		key = detectNumPad();
		switch(key){
			case '1':
			case '2':
			case '3':
			case '4':
			case '5':
			case '6':
			case '7':
			case '8':
			case '9':
				if(inicial == 0){
					sprintf(contenido,"%c",key);
					inicial = 1;
				}
				else{
					tamano = strlen(contenido);
					if(tamano > 10)  strncpy(contenido, contenido, 10);
					sprintf(contenido, "%s%c", contenido, key);
				}
				break;
			case '0':
				if(inicial == 0){
					sprintf(contenido,"%c",'0');
					inicial = 0;
				}
				else{
					tamano = strlen(contenido);
					if(tamano > 10)  strncpy(contenido, contenido, 10);
					sprintf(contenido, "%s%c", contenido, key);
				}
				break;
			case 'A': operacionAritmetica = 1;
					if(inicial == 0){
						sprintf(resultado, "%s", "0");
						inicial = 0;
					}
					else{
						sprintf(resultado, "%s", contenido);
						sprintf(contenido, "%s", "0");
						inicial = 0;
					}
					/*
					sprintf(salidaUart,"%s: %s, %d\n\r", "+salidar", resultado);
					strcpy((char*)tx_buffer, salidaUart);
					HAL_UART_Transmit(&huart3, tx_buffer, 30, 10);

					sprintf(salidaUart,"%s: %s, %d\n\r", "+salidac", contenido);
					strcpy((char*)tx_buffer, salidaUart);
					HAL_UART_Transmit(&huart3, tx_buffer, 30, 10);
					*/
					break;
			case 'B': operacionAritmetica = 2;
						if(inicial == 0){
							sprintf(resultado, "%s", "0");
							inicial = 0;
						}
						else{
							sprintf(resultado, "%s", contenido);
							sprintf(contenido, "%s", "0");
							inicial = 0;
						}
						/*
						sprintf(salidaUart,"%s: %s\n\r", "+salidar", resultado);
						strcpy((char*)tx_buffer, salidaUart);
						HAL_UART_Transmit(&huart3, tx_buffer, 30, 10);

						sprintf(salidaUart,"%s: %s\n\r", "+salidac", contenido);
						strcpy((char*)tx_buffer, salidaUart);
						HAL_UART_Transmit(&huart3, tx_buffer, 30, 10);
						*/
					    break;
			case 'C': operacionAritmetica = 3;
						if(inicial == 0){
							sprintf(resultado, "%s", "0");
							inicial = 0;
						}
						else{
							sprintf(resultado, "%s", contenido);
							sprintf(contenido, "%s", "0");
							inicial = 0;
						}
						/*
						sprintf(salidaUart,"%s: %s\n\r", "+salidar", resultado);
						strcpy((char*)tx_buffer, salidaUart);
						HAL_UART_Transmit(&huart3, tx_buffer, 30, 10);

						sprintf(salidaUart,"%s: %s\n\r", "+salidac", contenido);
						strcpy((char*)tx_buffer, salidaUart);
						HAL_UART_Transmit(&huart3, tx_buffer, 30, 10);
						*/
						break;
			case 'D': operacionAritmetica = 4;
						if(inicial == 0){
							inicial = 0;
							sprintf(resultado, "%s", "0");
						}
						else{
							sprintf(resultado, "%s", contenido);
							sprintf(contenido, "%s", "0");
							inicial = 0;
						}
						/*
						sprintf(salidaUart,"%s: %s\n\r", "+salidar", resultado);
						strcpy((char*)tx_buffer, salidaUart);
						HAL_UART_Transmit(&huart3, tx_buffer, 30, 10);

						sprintf(salidaUart,"%s: %s\n\r", "+salidac", contenido);
						strcpy((char*)tx_buffer, salidaUart);
						HAL_UART_Transmit(&huart3, tx_buffer, 30, 10);
						*/
						break;
			case '#':
					switch(operacionAritmetica){
						case 1:
							valor1 = atoi(resultado);
							valor2 = atoi(contenido);
							valor2 += valor1;
							if(valor2 == 0) 	inicial = 0;
							sprintf(contenido, "%10d", valor2);
							break;
						case 2:
							valor1 = atoi(resultado);
							valor2 = atoi(contenido);
							valor1 -= valor2;
							if(valor1 == 0) 	inicial = 0;
							sprintf(contenido, "%10d", valor1);
							break;
						case 3:
							valor1 = atoi(resultado);
							valor2 = atoi(contenido);
							valor2 *= valor1;
							if(valor2 == 0) 	inicial = 0;
							sprintf(contenido, "%10d", valor2);
							break;
						case 4:
							valor1 = atoi(resultado);
							valor2 = atoi(contenido);
							valor1 /= valor2;
							if(valor1 == 0) 	inicial = 0;
							sprintf(contenido, "%10d", valor1);
							break;
					}
					//sprintf(salidaUart,"%s: %s\n\r", "+salidafr", resultado);
					//strcpy((char*)tx_buffer, salidaUart);
					//HAL_UART_Transmit(&huart3, tx_buffer, 30, 10);
					//sprintf(salidaUart,"%s: %s\n\r", "+salidafc", contenido);
					//strcpy((char*)tx_buffer, salidaUart);
					//HAL_UART_Transmit(&huart3, tx_buffer, 30, 10);
					break;
			case '*': salida = 0;
					SSD1306_Clear();
					break;
			default: break; // nunca llegar aqui
		}
	}
}

void reloj(){
	int salida = 1;
	int opcion = 0;
	int valor;
	char contenido[11] = "0";
	char resultado = "";
	char value[11];
	char key;
	int inicial = 0;
	int tamano = 0;
	int operacionAritmetica = 0;

	char horas[3] = "";
	char fecha[6][3];
	//RTC_TimeTypeDef changeTime;
	//RTC_DateTypeDef changeDate;
	SSD1306_GotoXY (0,0);
	SSD1306_Puts ("Hora, Fecha", &Font_11x18, 1);

	HAL_RTC_GetTime(&hrtc, &changeTime,  RTC_FORMAT_BIN);
	sprintf(fecha[0], "%02d", changeTime.Hours);
	sprintf(fecha[1], "%02d", changeTime.Minutes);
	sprintf(fecha[2], "%02d", changeTime.Seconds);
    sprintf(firstTime, " %s-%s-%0s  ", fecha[0], fecha[1], fecha[2]);
	SSD1306_GotoXY (0,25);
	SSD1306_Puts (firstTime, &Font_11x18, 1);

	HAL_RTC_GetDate(&hrtc, &changeDate, RTC_FORMAT_BIN);
	sprintf(fecha[3], "%02d", changeDate.Date);
	sprintf(fecha[4], "%02d", changeDate.Month);
	sprintf(fecha[5], "%02d", changeDate.Year);
	sprintf(date, " %s-%s-%0s  ", fecha[3], fecha[4], fecha[5]);
	SSD1306_GotoXY (0,45);
	SSD1306_Puts (date, &Font_11x18, 1);

	SSD1306_UpdateScreen();
	while(salida){

		key = detectNumPad();
		switch(key){
			case '1':
			case '2':
			case '3':
			case '4':
			case '5':
			case '6':
			case '7':
			case '8':
			case '9':
			case '0':
				sprintf(fecha[opcion], "%c%c", fecha[opcion][1], key);
				break;
			case 'D':
				valor = atoi(fecha[opcion]);
				if(opcion == 0){
					if(valor > 0 && valor <= 24)	opcion++;
				}else if(opcion == 1){
					if(valor > 0 && valor <= 60)	opcion++;
				}else if(opcion == 2){
					if(valor > 0 && valor <= 60)	opcion++;
				}else if(opcion == 3){
					if(valor > 0 && valor <= 31)	opcion++;
				}else if(opcion == 4){
					if(valor > 0 && valor <= 12)	opcion++;
				}else if(opcion == 5){
					opcion++;
				}

				if(opcion == 6){
					changeTime.Hours = atoi(fecha[0]);
					changeTime.Minutes = atoi(fecha[1]);
					changeTime.Seconds = atoi(fecha[2]);
					HAL_RTC_SetTime(&hrtc, &changeTime, RTC_FORMAT_BIN);

					changeDate.Date = atoi(fecha[3]);
					changeDate.Month = atoi(fecha[4]);
					changeDate.Year = atoi(fecha[5]);
					HAL_RTC_SetDate(&hrtc, &changeDate, RTC_FORMAT_BIN);

					salida = 0;
					SSD1306_Clear();
				}

				break;
			case '*':
				salida = 0;
				SSD1306_Clear();
				break;
			default: break; // nunca llegar aqui
		}
		sprintf(firstTime, " %s-%s-%0s  ", fecha[0], fecha[1], fecha[2]);
		SSD1306_GotoXY (0,25);
		SSD1306_Puts (firstTime, &Font_11x18, 1);
		sprintf(date, " %s-%s-%0s  ", fecha[3], fecha[4], fecha[5]);
		SSD1306_GotoXY (0,45);
		SSD1306_Puts (date, &Font_11x18, 1);
		SSD1306_UpdateScreen();
	}
}

void menuOpciones(){
	int salida = 1;
	int opcion = 1;
	char contenido[30];
	char key;

	while(salida){
		SSD1306_GotoXY (0,0);
		SSD1306_Puts ("Menu", &Font_11x18, 1);
		SSD1306_GotoXY (10,25);
		if(opcion == 1) SSD1306_Puts ("->Hora,Fecha", &Font_11x18, 1);
		if(opcion == 2) SSD1306_Puts ("->Calculadora", &Font_11x18, 1);
		if(opcion == 3) SSD1306_Puts ("->Salir   ", &Font_11x18, 1);

		SSD1306_UpdateScreen();
		//if(opcion == 3) SSD1306_Puts ("->Salir", &Font_11x18, 1);
		//if(opcion = 3) SSD1306_Puts ("->Salir", &Font_11x18, 1);
		key = keyMenuOpciones();
		switch(key){
			case 'A': if(opcion > 0) opcion--;
				//		sprintf(contenido,"%s: %d, %d", "valor", key, opcion);
				//		strcpy((char*)tx_buffer, contenido);
				//		HAL_UART_Transmit(&huart3, tx_buffer, 30, 10);

						break;
			case 'B': if(opcion < 3) opcion++;
				//		sprintf(contenido,"%s: %d, %d", "valor", key, opcion);
				//		strcpy((char*)tx_buffer, contenido);
				//		HAL_UART_Transmit(&huart3, tx_buffer, 30, 10);
						break;
			case 'D':
						if(opcion == 1){
							reloj();
							SSD1306_Clear();
						}
						if(opcion == 2){
							calculadora();
							SSD1306_Clear();
						}
						if(opcion == 3){ salida = 0; }
				//		sprintf(contenido,"%s: %d, %d", "valor", key, opcion);
				//		strcpy((char*)tx_buffer, contenido);
				//		HAL_UART_Transmit(&huart3, tx_buffer, 30, 10);
					    break;
			default: break; // nunca llegar aqui
		}
	}
}

/* USER CODE END 4 */

void Error_Handler(void)
{
  __disable_irq();
  while (1)
  {
  }
}
